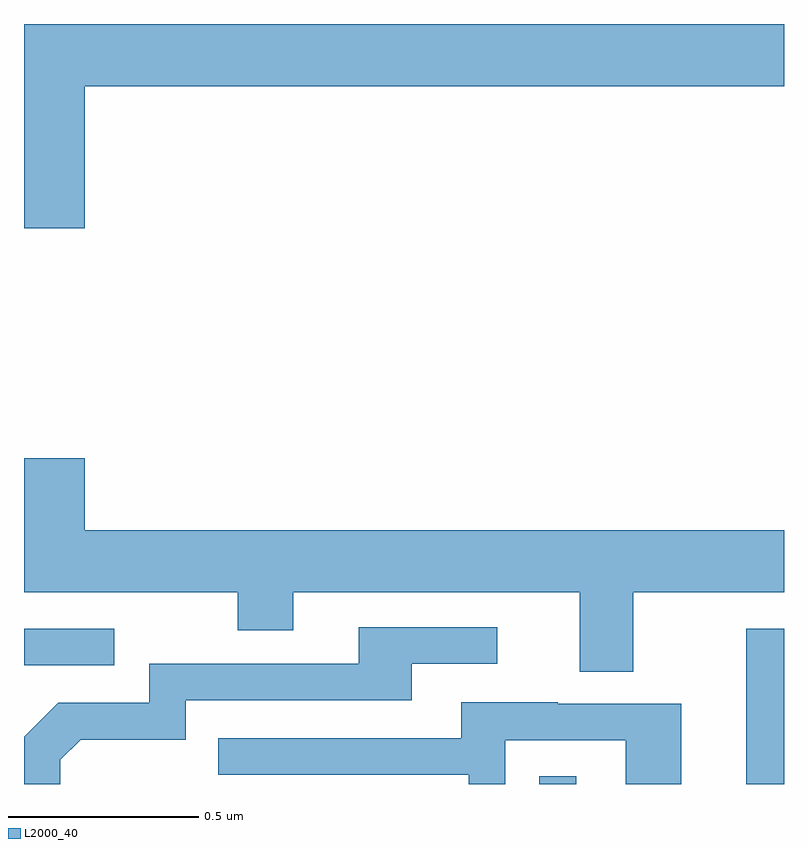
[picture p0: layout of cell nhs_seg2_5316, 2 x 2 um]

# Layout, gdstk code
import gdstk
lib = gdstk.Library(unit=1e-6, precision=1e-09)
def R(c, l, rs):  # rectangles x0, y0, x1, y1
    for r in rs: c.add(gdstk.rectangle(r[:2], r[2:], *l))
def P(c, l, *ps):  # polygons
    for p in ps: c.add(gdstk.Polygon(p, *l))
L2000_40 = (2000, 40)

nhs_seg2_5316 = lib.new_cell('nhs_seg2_5316')
R(nhs_seg2_5316, L2000_40, [(178.356,645.8,178.453,645.82), (178.901,645.8,179,646.209), (177,646.113,177.238,646.209)])
P(nhs_seg2_5316, L2000_40, [(177.16,647.636),(179,647.636),(179,647.8),(177,647.8),(177,647.262),(177.16,647.262)],
  [(178.603,646.304),(179,646.304),(179,646.468),(177.16,646.468),(177.16,646.657),(177,646.657),(177,646.304),(177.562,646.304),(177.562,646.205),(177.709,646.205),(177.709,646.304),(178.463,646.304),(178.463,646.096),(178.603,646.096)],
  [(177.096,645.864),(177.149,645.917),(177.426,645.917),(177.426,646.02),(178.021,646.02),(178.021,646.116),(178.246,646.116),(178.246,646.212),(177.881,646.212),(177.881,646.116),(177.33,646.116),(177.33,646.014),(177.09,646.014),(177,645.924),(177,645.8),(177.096,645.8)],
  [(178.266,645.915),(178.584,645.915),(178.584,645.8),(178.729,645.8),(178.729,646.011),(178.405,646.011),(178.405,646.015),(178.151,646.015),(178.151,645.921),(177.511,645.921),(177.511,645.825),(178.17,645.825),(178.17,645.8),(178.266,645.8)])

lib.write_gds('nhs_seg2_5316.gds')
